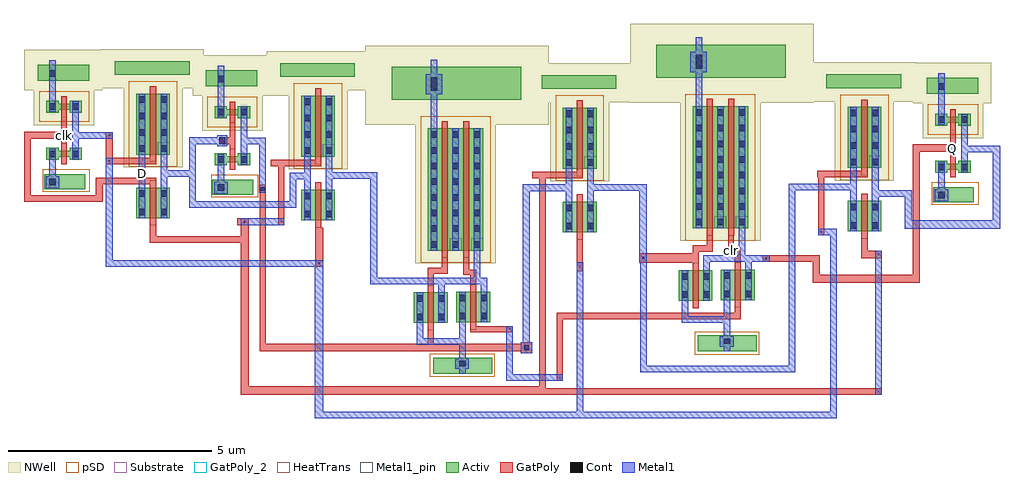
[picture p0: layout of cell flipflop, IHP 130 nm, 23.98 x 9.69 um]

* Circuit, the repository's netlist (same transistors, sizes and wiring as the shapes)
** sch_path: /home/eamtastudent/VLSI_EAMTA/design/blocks/flipflop/flipflop.sch
.subckt flipflop D Q vss clr clk vdd
*.PININFO clr:B vdd:B vss:B clk:B D:B Q:B
x1 clk D net1 nclk vss vdd interruptor
x2 vdd nclk clk vss untitled
x3 nclk net1 net5 clk vss vdd interruptor
x4 vdd net2 net1 vss untitled
x5 nclk net2 net3 clk vss vdd interruptor
x6 vdd net5 net2 clr vss puertanor
x7 clk net3 net4 nclk vss vdd interruptor
x8 vdd net4 Q vss untitled
x9 vdd Q net3 clr vss puertanor
.ends

* expanding   symbol:  blocks/interruptor/interruptor.sym # of pins=6
** sym_path: /home/eamtastudent/VLSI_EAMTA/design/blocks/interruptor/interruptor.sym
** sch_path: /home/eamtastudent/VLSI_EAMTA/design/blocks/interruptor/interruptor.sch
.subckt interruptor N in out P vss vdd
*.PININFO N:B in:B out:B vdd:B vss:B P:B
M1 out P in vdd sg13_lv_pmos w=1.5u l=0.15u ng=1
M2 out N in vss sg13_lv_nmos w=0.75u l=0.15u ng=1
.ends


* expanding   symbol:  blocks/inversor/untitled.sym # of pins=4
** sym_path: /home/eamtastudent/VLSI_EAMTA/design/blocks/inversor/untitled.sym
** sch_path: /home/eamtastudent/VLSI_EAMTA/design/blocks/inversor/untitled.sch
.subckt untitled Vdd Out in Vss
*.PININFO Vdd:B Out:B Vss:B in:B
M1 Out in Vdd Vdd sg13_lv_pmos w=0.15u l=0.13u ng=1
M2 Out in Vss Vss sg13_lv_nmos w=0.15u l=0.13u ng=1
.ends


* expanding   symbol:  blocks/puertanor/puertanor.sym # of pins=5
** sym_path: /home/eamtastudent/VLSI_EAMTA/design/blocks/puertanor/puertanor.sym
** sch_path: /home/eamtastudent/VLSI_EAMTA/design/blocks/puertanor/puertanor.sch
.subckt puertanor vdd vout B A vss
*.PININFO vdd:B vout:B B:B vss:B A:B
M1 net1 B vdd vdd sg13_lv_pmos w=3u l=0.15u ng=1
M2 vout A net1 vdd sg13_lv_pmos w=3u l=0.15u ng=1
M3 vout A vss vss sg13_lv_nmos w=0.75u l=0.15u ng=1
M4 vout B vss vss sg13_lv_nmos w=0.75u l=0.15u ng=1
.ends

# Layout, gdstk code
import gdstk
lib = gdstk.Library(unit=1e-6, precision=5e-09)
def R(c, l, rs):  # rectangles x0, y0, x1, y1
    for r in rs: c.add(gdstk.rectangle(r[:2], r[2:], *l))
def A(c, l, x, y, w, h, nx, ny, dx, dy):  # array of equal rectangles
    R(c, l, [(x+i*dx, y+j*dy, x+i*dx+w, y+j*dy+h) for i in range(nx) for j in range(ny)])
Activ = (1, 0)
GatPoly = (5, 0)
GatPoly_2 = (5, 2)
Cont = (6, 0)
Metal1 = (8, 0)
Metal1_pin = (8, 2)
pSD = (14, 0)
NWell = (31, 0)
Substrate = (40, 0)
HeatTrans = (51, 0)

pmos = lib.new_cell('pmos')
R(pmos, Activ, [(0,0,0.3,0.3), (0.57,0,0.87,0.3), (0,0.075,0.87,0.225)])
R(pmos, GatPoly, [(0.37,-0.105,0.5,0.405), (0.37,-0.105,0.5,0.405)])
R(pmos, Cont, [(0.07,0.07,0.23,0.23), (0.64,0.07,0.8,0.23)])
R(pmos, Metal1, [(0.07,0.02,0.23,0.28), (0.07,0.02,0.23,0.28), (0.64,0.02,0.8,0.28), (0.64,0.02,0.8,0.28)])
R(pmos, pSD, [(-0.18,-0.225,1.05,0.525)])
R(pmos, NWell, [(-0.31,-0.31,1.18,0.61)])
R(pmos, Substrate, [(0.57,0,0.87,0.3)])
R(pmos, HeatTrans, [(0.37,-0.105,0.5,0.405)])
pmos.add(gdstk.Label('pmos', (0.435,0.15), layer=63, texttype=0))
pmos.add(gdstk.Label('pmos', (0.435,0.15), layer=51, texttype=0))

nmos_1 = lib.new_cell('nmos$1')
R(nmos_1, Activ, [(0,0,0.3,0.3), (0.57,0,0.87,0.3), (0,0.075,0.87,0.225)])
R(nmos_1, GatPoly, [(0.37,-0.105,0.5,0.405)])
R(nmos_1, GatPoly_2, [(0.37,-0.105,0.5,0.405)])
R(nmos_1, Cont, [(0.07,0.07,0.23,0.23), (0.64,0.07,0.8,0.23)])
R(nmos_1, Metal1, [(0.07,0.02,0.23,0.28), (0.64,0.02,0.8,0.28)])
R(nmos_1, Metal1_pin, [(0.07,0.02,0.23,0.28), (0.64,0.02,0.8,0.28)])
R(nmos_1, HeatTrans, [(0.37,-0.105,0.5,0.405)])
nmos_1.add(gdstk.Label('nmos', (0.435,0.15), layer=63, texttype=0))
nmos_1.add(gdstk.Label('nmos', (0.435,0.15), layer=51, texttype=0))

inversor = lib.new_cell('inversor')
R(inversor, Activ, [(0.69,-0.325,1.695,0.04), (0.53,2.34,1.795,2.73)])
R(inversor, GatPoly, [(1.115,0.69,1.245,1.53)])
R(inversor, Cont, [(0.815,-0.235,0.975,-0.075), (0.815,2.43,0.975,2.59)])
R(inversor, Metal1, [(0.735,-0.31,1.065,-0.005), (0.815,-0.28,0.975,0.54), (1.385,0.54,1.545,1.735), (0.815,1.7,0.975,2.835)])
R(inversor, Metal1_pin, [(0.815,-0.235,0.975,-0.075), (0.815,2.43,0.975,2.59)])
R(inversor, pSD, [(0.655,-0.395,1.81,0.165)])
R(inversor, NWell, [(0.2,2.1,2.115,3.095)])
inversor.add(gdstk.Reference(pmos, (0.745,1.55)))
inversor.add(gdstk.Reference(nmos_1, (0.745,0.39)))
inversor.add(gdstk.Label('Vss', (0.905,-0.165), layer=8, texttype=2))
inversor.add(gdstk.Label('Vdd', (0.87,2.535), layer=8, texttype=2))

pmos_1_1 = lib.new_cell('pmos$1$1')
R(pmos_1_1, Activ, [(0,0,0.3,0.3), (0,0,0.83,3), (0.53,0,0.83,0.3)])
R(pmos_1_1, GatPoly, [(0.34,-0.18,0.49,3.18), (0.34,-0.18,0.49,3.18)])
A(pmos_1_1, Cont, 0.07, 0.07, 0.16, 0.16, 1, 7, 0, 0.385)
A(pmos_1_1, Cont, 0.6, 0.07, 0.16, 0.16, 1, 7, 0, 0.385)
R(pmos_1_1, Cont, [(0.07,2.77,0.23,2.93), (0.6,2.77,0.76,2.93)])
R(pmos_1_1, Metal1, [(0.07,0,0.23,3), (0.07,0,0.23,3), (0.6,0,0.76,3), (0.6,0,0.76,3)])
R(pmos_1_1, pSD, [(-0.18,-0.3,1.01,3.3)])
R(pmos_1_1, NWell, [(-0.31,-0.31,1.14,3.31)])
R(pmos_1_1, Substrate, [(0.53,0,0.83,0.3)])
R(pmos_1_1, HeatTrans, [(0.34,-0.18,0.49,3.18)])
pmos_1_1.add(gdstk.Label('pmos', (0.415,1.5), layer=63, texttype=0))
pmos_1_1.add(gdstk.Label('pmos', (0.415,1.5), layer=51, texttype=0))

nmos_1_1 = lib.new_cell('nmos$1$1')
R(nmos_1_1, Activ, [(0,0,0.3,0.3), (0,0,0.83,0.75), (0.53,0,0.83,0.3)])
R(nmos_1_1, GatPoly, [(0.34,-0.18,0.49,0.93)])
R(nmos_1_1, GatPoly_2, [(0.34,-0.18,0.49,0.93)])
R(nmos_1_1, Cont, [(0.07,0.07,0.23,0.23), (0.6,0.07,0.76,0.23), (0.07,0.52,0.23,0.68), (0.6,0.52,0.76,0.68)])
R(nmos_1_1, Metal1, [(0.07,0,0.23,0.75), (0.6,0,0.76,0.75)])
R(nmos_1_1, Metal1_pin, [(0.07,0,0.23,0.75), (0.6,0,0.76,0.75)])
R(nmos_1_1, HeatTrans, [(0.34,-0.18,0.49,0.93)])
nmos_1_1.add(gdstk.Label('nmos', (0.415,0.375), layer=63, texttype=0))
nmos_1_1.add(gdstk.Label('nmos', (0.415,0.375), layer=51, texttype=0))

puertanor = lib.new_cell('puertanor')
R(puertanor, Activ, [(8.035,3.76,9.485,4.155), (7.02,10.49,10.2,11.295)])
R(puertanor, GatPoly, [(7.905,5.935,8.055,6.365), (8.945,5.95,9.095,6.305), (8.78,6.185,9.095,6.315), (8.78,6.19,8.92,7.01), (7.905,6.21,8.4,6.365), (8.25,6.21,8.4,7.035)])
R(puertanor, Cont, [(8.675,3.945,8.835,4.075), (7.98,10.705,8.14,11.045)])
R(puertanor, Metal1, [(8.675,3.76,8.835,5.385), (8.58,3.875,8.915,4.13), (7.635,4.465,8.835,4.63), (7.635,4.465,7.795,5.125), (9.205,5.57,9.365,6.045), (8.165,5.755,8.325,6.045), (8.165,5.96,9.365,6.12), (9.04,5.96,9.2,6.87), (7.98,9.635,8.14,11.475), (7.855,10.62,8.26,11.12)])
R(puertanor, Metal1_pin, [(8.675,3.945,8.835,4.075), (7.98,10.755,8.14,11)])
R(puertanor, pSD, [(7.96,3.68,9.55,4.245)])
R(puertanor, NWell, [(6.37,9.87,10.88,11.81)])
puertanor.add(gdstk.Reference(pmos_1_1, (7.91,6.785)))
puertanor.add(gdstk.Reference(nmos_1_1, (8.605,5.02)))
puertanor.add(gdstk.Reference(nmos_1_1, (7.565,5.005)))
puertanor.add(gdstk.Reference(pmos_1_1, (8.44,6.785)))
puertanor.add(gdstk.Label('Vss', (8.74,4.01), layer=8, texttype=2))
puertanor.add(gdstk.Label('vdd', (8.06,10.865), layer=8, texttype=2))

nmos = lib.new_cell('nmos')
R(nmos, Activ, [(0,0,0.3,0.3), (0,0,0.83,0.75), (0.53,0,0.83,0.3)])
R(nmos, GatPoly, [(0.34,-0.18,0.49,0.93)])
R(nmos, GatPoly_2, [(0.34,-0.18,0.49,0.93)])
R(nmos, Cont, [(0.07,0.07,0.23,0.23), (0.6,0.07,0.76,0.23), (0.07,0.52,0.23,0.68), (0.6,0.52,0.76,0.68)])
R(nmos, Metal1, [(0.07,0,0.23,0.75), (0.6,0,0.76,0.75)])
R(nmos, Metal1_pin, [(0.07,0,0.23,0.75), (0.6,0,0.76,0.75)])
R(nmos, HeatTrans, [(0.34,-0.18,0.49,0.93)])
nmos.add(gdstk.Label('nmos', (0.415,0.375), layer=63, texttype=0))
nmos.add(gdstk.Label('nmos', (0.415,0.375), layer=51, texttype=0))

pmos_1 = lib.new_cell('pmos$1')
R(pmos_1, Activ, [(0,0,0.3,0.3), (0,0,0.83,1.5), (0.53,0,0.83,0.3)])
R(pmos_1, GatPoly, [(0.34,-0.18,0.49,1.68), (0.34,-0.18,0.49,1.68)])
A(pmos_1, Cont, 0.07, 0.07, 0.16, 0.16, 1, 4, 0, 0.4)
A(pmos_1, Cont, 0.6, 0.07, 0.16, 0.16, 1, 4, 0, 0.4)
R(pmos_1, Metal1, [(0.07,0,0.23,1.5), (0.07,0,0.23,1.5), (0.6,0,0.76,1.5), (0.6,0,0.76,1.5)])
R(pmos_1, pSD, [(-0.18,-0.3,1.01,1.8)])
R(pmos_1, NWell, [(-0.31,-0.31,1.14,1.81)])
R(pmos_1, Substrate, [(0.53,0,0.83,0.3)])
R(pmos_1, HeatTrans, [(0.34,-0.18,0.49,1.68)])
pmos_1.add(gdstk.Label('pmos', (0.415,0.75), layer=63, texttype=0))
pmos_1.add(gdstk.Label('pmos', (0.415,0.75), layer=51, texttype=0))

interruptor = lib.new_cell('interruptor')
R(interruptor, Activ, [(2.655,5.625,4.49,5.965)])
R(interruptor, GatPoly, [(2.425,3.43,3.665,3.59)])
R(interruptor, Metal1, [(3.775,2.66,3.935,3.885), (3.245,2.735,3.405,4.385)])
R(interruptor, NWell, [(2.335,5.295,4.835,6.255)])
interruptor.add(gdstk.Reference(nmos, (3.175,2.105)))
interruptor.add(gdstk.Reference(pmos_1, (3.175,3.665)))

flipflop = lib.new_cell('flipflop')
R(flipflop, GatPoly, [(4.765,5.065,4.97,8.795), (4.765,5.065,12.27,5.27), (12.11,5.065,12.27,10.54), (12.11,5.065,20.515,5.225), (12.54,5.405,12.68,7.08), (11.645,6.08,11.93,6.355), (5.235,6.13,5.39,8.31), (5.235,6.13,11.865,6.315), (9.365,6.13,9.515,6.695), (10.405,6.605,11.455,6.755), (12.68,6.92,17.06,7.08), (16.91,6.92,17.06,7.21), (18.825,7.815,18.995,8.49), (18.825,7.815,21.455,8.01), (21.28,7.815,21.455,11.215), (13.025,8.105,13.175,8.88), (5.235,8.14,5.39,10.225), (6.595,8.21,6.795,9.175), (14.56,8.305,16.02,8.54), (17.59,8.33,18.995,8.49), (20.02,8.42,20.17,8.47), (20.02,8.42,20.515,8.61), (20.02,8.47,20.17,8.9), (2.54,8.795,2.69,9.225), (2.54,8.795,4.97,8.965), (4.765,8.795,4.97,9.405), (18.955,8.985,19.105,10.56), (4.685,9.225,4.955,9.405), (5.695,9.225,5.845,10.84), (-0.555,9.805,-0.39,11.525), (-0.555,9.805,1.38,9.965), (1.205,9.805,1.38,10.395), (1.205,10.235,1.975,10.395), (1.975,10.24,2.69,10.395), (1.455,10.735,1.625,11.515), (21.28,11.04,22.335,11.215), (4.24,11.225,4.63,11.39), (-0.555,11.36,0.495,11.525)])
R(flipflop, GatPoly_2, [(16.745,8.56,16.885,8.69), (22.205,11.04,22.335,11.205), (0.365,11.355,0.495,11.525)])
R(flipflop, Cont, [(20.43,5.135,20.45,5.155), (12.605,5.48,12.625,5.5), (11.735,6.16,11.845,6.28), (11.365,6.67,11.395,6.695), (13.095,8.2,13.115,8.225), (6.675,8.28,6.715,8.305), (17.66,8.4,17.695,8.43), (14.63,8.405,14.685,8.455), (20.435,8.5,20.455,8.535), (19.025,9.06,19.045,9.08), (4.85,9.29,4.885,9.33), (5.765,9.315,5.785,9.33), (5.255,10.075,5.365,10.165), (5.255,10.075,5.365,10.165), (1.525,10.805,1.55,10.825), (4.24,11.225,4.385,11.39), (1.525,11.43,1.56,11.455)])
R(flipflop, Metal1, [(6.59,4.49,6.795,8.21), (6.59,4.49,13.445,4.65), (13.445,4.49,19.42,4.65), (19.26,4.49,19.42,9.145), (13.025,4.65,13.185,8.32), (20.355,5.065,20.515,8.61), (11.295,5.405,11.455,6.755), (11.295,5.405,12.68,5.57), (14.58,5.615,18.395,5.775), (14.58,5.615,14.745,8.32), (18.235,5.615,18.395,10.255), (11.645,6.08,11.93,6.355), (11.705,6.13,11.865,10.235), (7.95,7.78,9.785,7.945), (7.95,7.79,8.12,10.535), (1.45,8.21,1.625,10.885), (1.45,8.21,5.84,8.37), (5.84,8.21,6.795,8.37), (14.56,8.32,14.745,10.24), (14.58,8.32,14.745,8.535), (17.16,8.33,17.77,8.49), (18.955,8.985,19.42,9.145), (21.085,9.15,21.255,10.095), (21.085,9.15,23.425,9.35), (23.245,9.15,23.425,11.185), (4.765,9.225,5.715,9.405), (5.59,9.225,5.845,9.405), (3.51,9.66,6.14,9.82), (3.51,9.66,3.67,10.585), (5.98,9.66,6.14,10.525), (20.28,9.935,21.255,10.095), (5.23,10.03,5.39,11.38), (11.705,10.07,12.915,10.235), (13.285,10.075,14.745,10.24), (18.235,10.09,19.91,10.255), (6.02,10.365,6.485,10.525), (6.855,10.37,8.12,10.535), (2.805,10.42,3.67,10.585), (3.51,10.42,3.67,11.39), (22.475,11.02,23.425,11.185), (4.19,11.17,4.44,11.44), (4.77,11.22,5.39,11.38), (3.51,11.225,4.385,11.39), (0.635,11.355,1.625,11.515)])
R(flipflop, Metal1_pin, [(2.27,10.415,2.43,10.58)])
R(flipflop, NWell, [(5.495,12.41,5.945,12.545)])
flipflop.add(gdstk.Reference(inversor, (3.385,10.31)))
flipflop.add(gdstk.Reference(puertanor, (1.46,1.825)))
flipflop.add(gdstk.Reference(interruptor, (-0.975,7.3)))
flipflop.add(gdstk.Reference(interruptor, (3.08,7.25)))
flipflop.add(gdstk.Reference(interruptor, (9.51,6.955)))
flipflop.add(gdstk.Reference(inversor, (21.09,10.125)))
flipflop.add(gdstk.Reference(puertanor, (7.965,2.37)))
flipflop.add(gdstk.Reference(interruptor, (16.505,6.975)))
flipflop.add(gdstk.Reference(inversor, (-0.75,10.445)))
flipflop.add(gdstk.Label('D', (2.35,10.495), layer=8, texttype=2))
flipflop.add(gdstk.Label('clk', (0.43,11.44), layer=5, texttype=2))
flipflop.add(gdstk.Label('Q', (22.27,11.12), layer=5, texttype=2))
flipflop.add(gdstk.Label('clr', (16.82,8.605), layer=5, texttype=2))

lib.write_gds('flipflop.gds')
